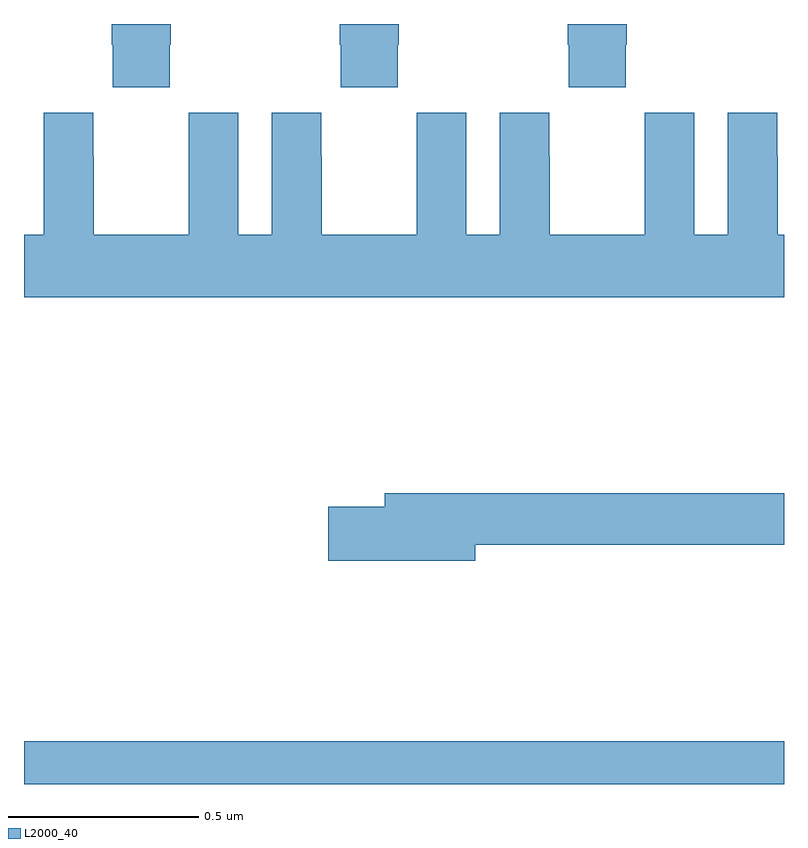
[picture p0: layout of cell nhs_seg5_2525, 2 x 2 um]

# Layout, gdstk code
import gdstk
lib = gdstk.Library(unit=1e-6, precision=1e-09)
def R(c, l, rs):  # rectangles x0, y0, x1, y1
    for r in rs: c.add(gdstk.rectangle(r[:2], r[2:], *l))
def P(c, l, *ps):  # polygons
    for p in ps: c.add(gdstk.Polygon(p, *l))
L2000_40 = (2000, 40)

nhs_seg5_2525 = lib.new_cell('nhs_seg5_2525')
R(nhs_seg5_2525, L2000_40, [(145,868.799,147,868.912)])
P(nhs_seg5_2525, L2000_40, [(145.383,870.745),(145.386,870.745),(145.386,870.799),(145.231,870.799),(145.231,870.745),(145.233,870.745),(145.233,870.633),(145.383,870.633)],
  [(145.983,870.745),(145.986,870.745),(145.986,870.799),(145.831,870.799),(145.831,870.745),(145.833,870.745),(145.833,870.633),(145.983,870.633)],
  [(146.583,870.745),(146.586,870.745),(146.586,870.799),(146.431,870.799),(146.431,870.745),(146.433,870.745),(146.433,870.633),(146.583,870.633)],
  [(147,870.244),(146.983,870.244),(146.983,870.452),(146.982,870.452),(146.982,870.565),(146.852,870.565),(146.852,870.244),(146.764,870.244),(146.764,870.565),(146.634,870.565),(146.634,870.452),(146.633,870.452),(146.633,870.244),(146.383,870.244),(146.383,870.452),(146.382,870.452),(146.382,870.565),(146.252,870.565),(146.252,870.244),(146.164,870.244),(146.164,870.565),(146.034,870.565),(146.034,870.452),(146.033,870.452),(146.033,870.244),(145.783,870.244),(145.783,870.452),(145.782,870.452),(145.782,870.565),(145.652,870.565),(145.652,870.244),(145.564,870.244),(145.564,870.565),(145.434,870.565),(145.434,870.452),(145.433,870.452),(145.433,870.244),(145.183,870.244),(145.183,870.452),(145.182,870.452),(145.182,870.565),(145.052,870.565),(145.052,870.244),(145,870.244),(145,870.08),(147,870.08)],
  [(146.188,869.428),(147,869.428),(147,869.564),(145.949,869.564),(145.949,869.528),(145.8,869.528),(145.8,869.386),(146.188,869.386)])

lib.write_gds('nhs_seg5_2525.gds')
